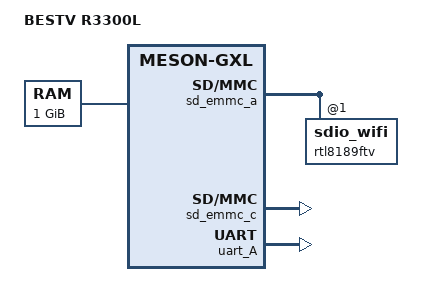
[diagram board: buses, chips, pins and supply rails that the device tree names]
// SPDX-License-Identifier: (GPL-2.0+ OR MIT)
/*
 * hf
 */

/dts-v1/;

#include "meson-gxl-s905x-p212.dts"

/ {
	compatible = "bestv,r3300l", "amlogic,s905l", "amlogic,meson-gxl";
	model = "BESTV R3300L";

	memory@0 {
		device_type = "memory";
		reg = <0x0 0x0 0x0 0x40000000>;
	};
};

/* Wireless SDIO Module */
&sd_emmc_a {
	status = "okay";
	/*
	 * Explicitly define the sdio device, so that we can add an ethernet
	 * alias for it (which e.g. makes u-boot set a mac-address).
	 */
	rtl8189ftv: sdio_wifi@1 {
		reg = <1>;
	};
};

/* eMMC */
&sd_emmc_c {
	status = "okay";
};

/* This is connected to the Bluetooth module: */
&uart_A {
	status = "okay";
	/delete-node/ bluetooth;
};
